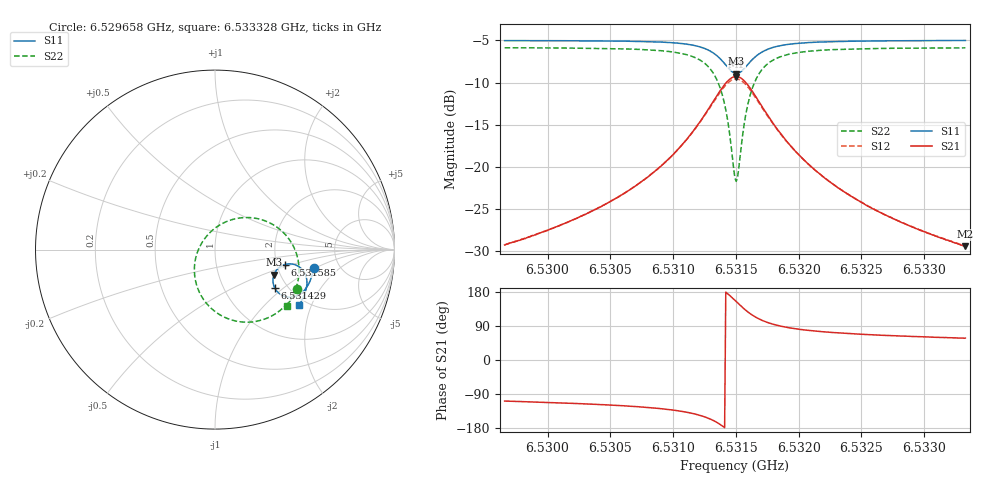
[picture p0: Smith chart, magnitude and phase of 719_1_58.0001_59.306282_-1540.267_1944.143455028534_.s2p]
#  HZ  S  RI  R  50.00
! Rohde & Schwarz Vector Network Analyzer
! Rohde-Schwarz,ZNB20-2Port,1311601062101988,3.16
! Created: UTC 3/21/2024, 1:22:35 AM
! freq[Hz]  re:S11  im:S11  re:S21  im:S21  re:S12  im:S12  re:S22  im:S22
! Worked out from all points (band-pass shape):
!   401 points, 6.529658 GHz to 6.533328 GHz, reference 50 ohm
!   highest |S21| = -9.28 dB at 6.531502 GHz (marker M1); lowest = -29.4 dB at 6.533328 GHz (marker M2)
!   |S21| within 3 dB of the highest: 6.531318 GHz to 6.531684 GHz (367 kHz wide, 0.00562 % of centre)
!   lowest |S11| = -8.9 dB at 6.531502 GHz (marker M3), VSWR 2.11, Z = 92.9 - j29.6 ohm
!   |S11| at or under -10 dB: nowhere
!   |S22| runs from -21.7 to -5.9 dB; largest |S21 - S12| = 0.014
!   S11 on the Smith chart (normalised r, x): 6.529658 GHz: 3.22, -0.98; 6.531429 GHz: 1.72, -0.86; 6.531585 GHz: 2.21, -0.44; 6.533328 GHz: 1.82, -1.64
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6.5296581e9  0.5504 -0.104  -0.0109 -0.0328  -0.0116 -0.0327  0.457 -0.2222
6.5302727e9  0.5367 -0.1558  -0.022 -0.0462  -0.0232 -0.0458  0.4204 -0.2801
6.5306121e9  0.5233 -0.1886  -0.0359 -0.0599  -0.0376 -0.059  0.3838 -0.321
6.5308873e9  0.5042 -0.2194  -0.0607 -0.078  -0.0631 -0.0761  0.3281 -0.3629
6.5311075e9  0.4723 -0.2489  -0.1077 -0.0978  -0.1107 -0.0938  0.2341 -0.399
6.5312726e9  0.4186 -0.2651  -0.1915 -0.0987  -0.1929 -0.0905  0.0833 -0.3891
6.5313644e9  0.3676 -0.2512  -0.2693 -0.0579  -0.2662 -0.0467  -0.0429 -0.3049
6.5314011e9  0.3459 -0.2328  -0.3009 -0.0202  -0.2944 -0.00882  -0.0881 -0.2353
6.5314286e9  0.3323 -0.2122  -0.3189 0.0189  -0.3094 0.0289  -0.11 -0.1673
6.5314928e9  0.3259 -0.1485  -0.3164 0.1328  -0.303 0.136  -0.0838 0.0183
6.531502e9  0.329 -0.1391  -0.3096 0.1486  -0.2962 0.1508  -0.0699 0.0433
6.5315203e9  0.3377 -0.1217  -0.2914 0.1785  -0.2785 0.1783  -0.0347 0.0884
6.531557e9  0.3641 -0.0948  -0.2414 0.2228  -0.2314 0.2195  0.0542 0.152
6.5315845e9  0.3875 -0.0836  -0.1994 0.2411  -0.1916 0.2365  0.1266 0.1744
6.531612e9  0.4107 -0.0794  -0.1588 0.2474  -0.1532 0.2426  0.1952 0.1782
6.5316487e9  0.4378 -0.082  -0.1121 0.2431  -0.1085 0.2389  0.2726 0.1625
6.5317405e9  0.4817 -0.1063  -0.0377 0.2056  -0.0361 0.2033  0.3923 0.0832
6.5318781e9  0.5065 -0.1462  0.00577 0.1502  0.00677 0.1493  0.4552 -0.0267
6.5321074e9  0.5122 -0.1921  0.0221 0.0968  0.0233 0.0964  0.4677 -0.1352
6.532401e9  0.5053 -0.2302  0.0236 0.0641  0.0246 0.0638  0.4538 -0.2079
6.5327221e9  0.4939 -0.2615  0.0217 0.0457  0.0226 0.0454  0.4343 -0.2562
6.5333275e9  0.4692 -0.3083  0.0181 0.0287  0.0188 0.0284  0.399 -0.3137
